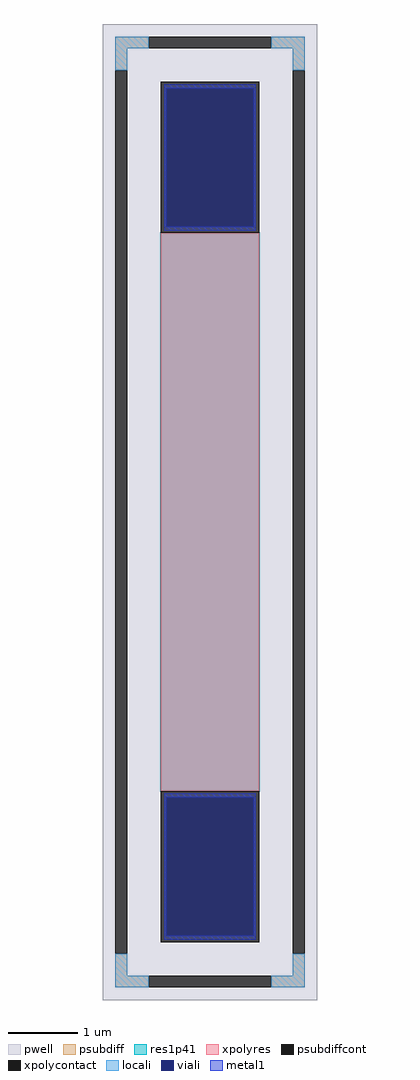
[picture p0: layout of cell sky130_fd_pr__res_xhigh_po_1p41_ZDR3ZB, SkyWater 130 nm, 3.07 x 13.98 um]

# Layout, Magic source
magic
tech sky130A
magscale 1 2
<< pwell >>
rect -307 -1398 307 1398
<< psubdiff >>
rect -271 1328 -175 1362
rect 175 1328 271 1362
rect -271 1266 -237 1328
rect 237 1266 271 1328
rect -271 -1328 -237 -1266
rect 237 -1328 271 -1266
rect -271 -1362 -175 -1328
rect 175 -1362 271 -1328
<< psubdiffcont >>
rect -175 1328 175 1362
rect -271 -1266 -237 1266
rect 237 -1266 271 1266
rect -175 -1362 175 -1328
<< xpolycontact >>
rect -141 800 141 1232
rect -141 -1232 141 -800
<< xpolyres >>
rect -141 -800 141 800
<< locali >>
rect -271 1328 -175 1362
rect 175 1328 271 1362
rect -271 1266 -237 1328
rect 237 1266 271 1328
rect -271 -1328 -237 -1266
rect 237 -1328 271 -1266
rect -271 -1362 -175 -1328
rect 175 -1362 271 -1328
<< viali >>
rect -125 817 125 1214
rect -125 -1214 125 -817
<< metal1 >>
rect -131 1214 131 1226
rect -131 817 -125 1214
rect 125 817 131 1214
rect -131 805 131 817
rect -131 -817 131 -805
rect -131 -1214 -125 -817
rect 125 -1214 131 -817
rect -131 -1226 131 -1214
<< res1p41 >>
rect -143 -802 143 802
<< properties >>
string FIXED_BBOX -254 -1345 254 1345
string gencell sky130_fd_pr__res_xhigh_po_1p41
string library sky130
string parameters w 1.410 l 8.0 m 1 nx 1 wmin 1.410 lmin 0.50 rho 2000 val 46.789k dummy 0 dw 0.0 term 188.2 sterm 0.0 caplen 0 wmax 1.410 guard 1 glc 1 grc 1 gtc 1 gbc 1 compatible {sky130_fd_pr__res_xhigh_po_0p35  sky130_fd_pr__res_xhigh_po_0p69 sky130_fd_pr__res_xhigh_po_1p41  sky130_fd_pr__res_xhigh_po_2p85 sky130_fd_pr__res_xhigh_po_5p73} snake 0 full_metal 1 n_guard 0 hv_guard 0 vias 1 viagb 0 viagt 0 viagl 0 viagr 0
<< end >>
